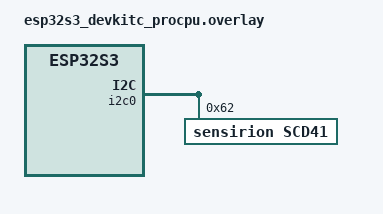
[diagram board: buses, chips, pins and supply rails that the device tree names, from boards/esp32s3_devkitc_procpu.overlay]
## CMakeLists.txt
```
cmake_minimum_required(VERSION 3.20.0)

find_package(Zephyr REQUIRED HINTS $ENV{ZEPHYR_BASE})
project(firmware_renode_scd41)

target_sources(app PRIVATE
  src/scd41_test.c
  ../../src/sensors/devices.c
)
```

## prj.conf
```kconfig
CONFIG_ZTEST=y
CONFIG_TEST=y
CONFIG_CONSOLE=y
CONFIG_SERIAL=y
CONFIG_UART_CONSOLE=y
CONFIG_PRINTK=y
CONFIG_I2C=y
CONFIG_SENSOR=y
CONFIG_SCD4X=y
CONFIG_LOG=y
CONFIG_LOG_MODE_IMMEDIATE=y
CONFIG_MAIN_STACK_SIZE=4096
```

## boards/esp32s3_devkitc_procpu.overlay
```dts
&i2c0 {
	status = "okay";

	scd41: scd41@62 {
		compatible = "sensirion,scd41";
		reg = <0x62>;
		mode = <1>;
		status = "okay";
		zephyr,deferred-init;
	};
};
```

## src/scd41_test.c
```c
/*
 * Copyright (c) 2026 Apidae Systems
 *
 * SPDX-License-Identifier: Apache-2.0
 */

#include <zephyr/device.h>
#include <zephyr/devicetree.h>
#include <zephyr/ztest.h>

const struct device *zr_sensor_get_co2(void);
int zr_sensor_init_co2(void);

struct scd41_fixture {
	const struct device *co2_device;
};

static void *scd41_setup(void)
{
	static struct scd41_fixture fixture = {
		.co2_device = DEVICE_DT_GET(DT_NODELABEL(scd41)),
	};

	return &fixture;
}

ZTEST_SUITE(scd41, NULL, scd41_setup, NULL, NULL, NULL);

ZTEST_F(scd41, test_scd41_node_matches_expected_contract)
{
	zassert_true(DT_NODE_HAS_STATUS(DT_NODELABEL(scd41), okay),
		     "scd41 devicetree node must be enabled");
	zassert_equal(DT_REG_ADDR(DT_NODELABEL(scd41)), 0x62,
		      "scd41 devicetree address changed");
}

ZTEST_F(scd41, test_scd41_device_is_present_and_deferred)
{
	zassert_not_null(fixture->co2_device, "scd41 device handle is missing");
	zassert_equal(fixture->co2_device, zr_sensor_get_co2(),
		      "C seam returned an unexpected scd41 device");
	zassert_false(device_is_ready(fixture->co2_device),
		      "scd41 should stay deferred until the test initializes it");
}

ZTEST_F(scd41, test_scd41_init_succeeds_when_sensor_model_is_attached)
{
	int init_result = zr_sensor_init_co2();

	if (init_result != 0) {
		/*
		 * The first pass of this suite pins the firmware seam and the board
		 * contract. A negative init result means the external Renode model has
		 * not been extended with an SCD41 responder yet, so the behavior test is
		 * skipped instead of producing a misleading failure.
		 */
		ztest_test_skip();
	}

	zassert_true(device_is_ready(fixture->co2_device),
		     "scd41 should be ready after a successful deferred init");
	zassert_equal(0, zr_sensor_init_co2(),
		      "re-initializing scd41 should stay idempotent");
}
```
